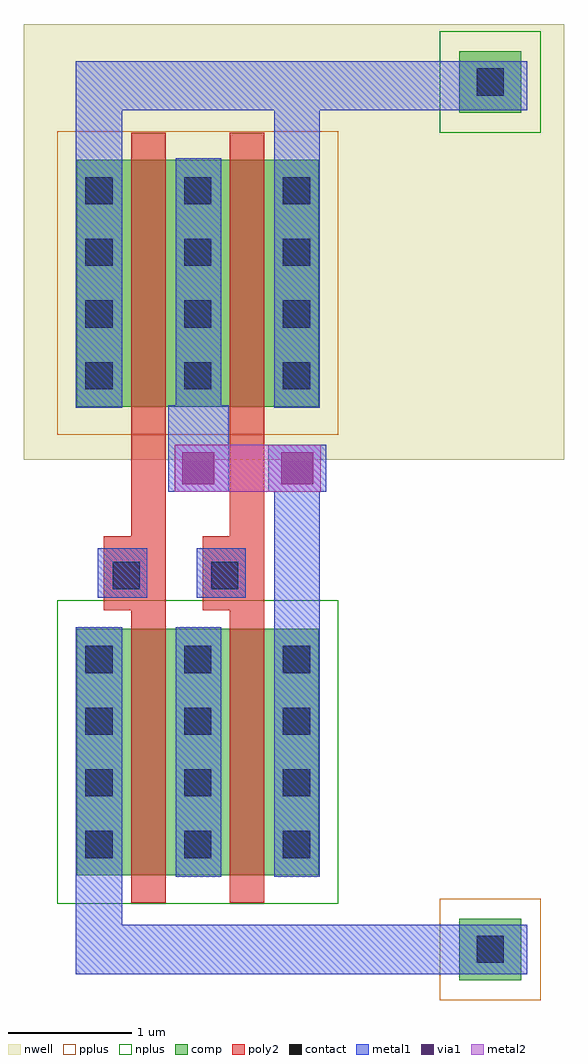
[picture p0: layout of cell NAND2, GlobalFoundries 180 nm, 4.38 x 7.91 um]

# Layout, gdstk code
import gdstk
lib = gdstk.Library(unit=1e-6, precision=1e-09)
def R(c, l, rs):  # rectangles x0, y0, x1, y1
    for r in rs: c.add(gdstk.rectangle(r[:2], r[2:], *l))
def A(c, l, x, y, w, h, nx, ny, dx, dy):  # array of equal rectangles
    R(c, l, [(x+i*dx, y+j*dy, x+i*dx+w, y+j*dy+h) for i in range(nx) for j in range(ny)])
nwell = (21, 0)
comp = (22, 0)
poly2 = (30, 0)
pplus = (31, 0)
nplus = (32, 0)
contact = (33, 0)
metal1 = (34, 0)
via1 = (35, 0)
metal2 = (36, 0)

nand2 = lib.new_cell('NAND2')
R(nand2, nwell, [(-0.43,3.37,3.95,6.9), (-0.43,3.37,2.39,6.23)])
R(nand2, comp, [(3.1,-0.85,3.6,-0.35), (0,0,1.96,2), (0,3.8,1.96,5.8), (3.1,6.18,3.6,6.68)])
R(nand2, poly2, [(0.44,-0.22,0.72,6.02), (0.44,-0.22,0.72,2.22), (1.24,-0.22,1.52,6.02), (1.24,-0.22,1.52,2.22), (0.22,2.15,0.72,2.75), (1.02,2.15,1.52,2.75), (0.44,3.58,0.72,6.02), (1.24,3.58,1.52,6.02)])
R(nand2, pplus, [(2.94,-1.01,3.76,-0.19), (-0.16,3.57,2.12,6.03)])
R(nand2, nplus, [(-0.16,-0.23,2.12,2.23), (2.94,6.02,3.76,6.84)])
A(nand2, contact, 0.07, 0.14, 0.22, 0.22, 3, 4, 0.8, 0.5)
A(nand2, contact, 0.07, 3.94, 0.22, 0.22, 3, 4, 0.8, 0.5)
R(nand2, contact, [(3.24,-0.71,3.46,-0.49), (0.29,2.32,0.51,2.54), (1.09,2.32,1.31,2.54), (3.24,6.32,3.46,6.54)])
R(nand2, metal1, [(-0.01,-0.8,2.9,-0.4), (-0.01,-0.8,0.37,0), (2.9,-0.8,3.65,-0.4), (-0.01,-0.01,0.37,2.01), (0.8,-0.01,1.17,2.01), (1.6,-0.01,1.97,2.01), (1.6,1.99,1.97,3.49), (0.17,2.25,0.57,2.65), (0.97,2.25,1.37,2.65), (0.74,3.11,1.23,3.81), (1.55,3.11,2.02,3.49), (-0.01,3.79,0.37,5.81), (0.8,3.79,1.17,5.81), (1.6,3.79,1.97,5.81), (-0.01,5.8,0.37,6.6), (1.6,5.8,1.97,6.6), (-0.01,6.2,2.9,6.6), (2.9,6.2,3.65,6.6)])
R(nand2, via1, [(0.855,3.17,1.115,3.43), (1.655,3.17,1.915,3.43)])
R(nand2, metal2, [(0.795,3.11,1.975,3.49)])

lib.write_gds('NAND2.gds')
